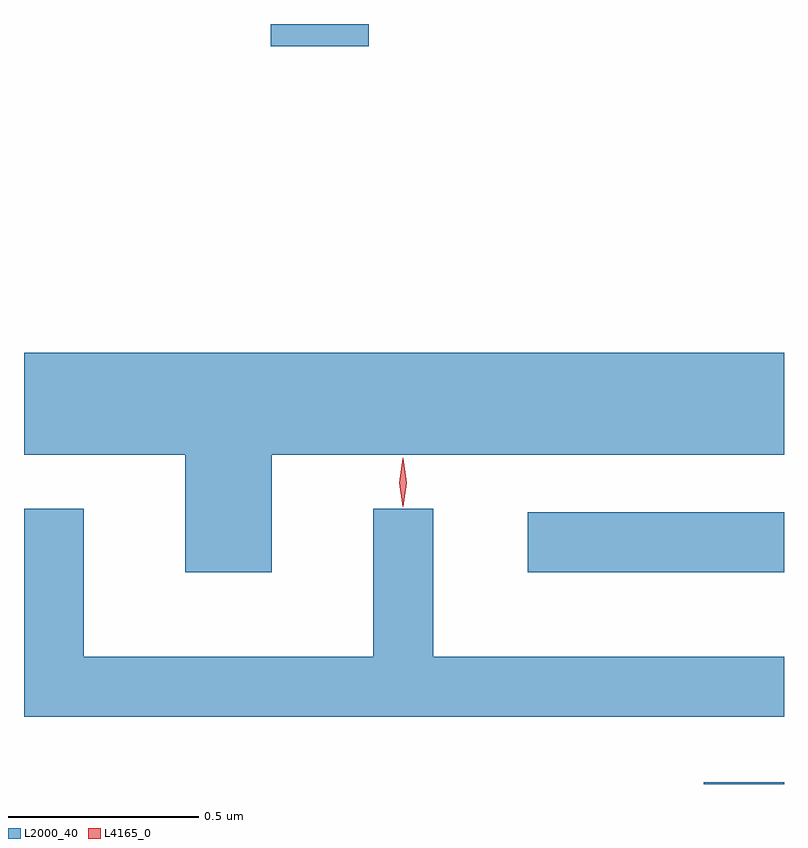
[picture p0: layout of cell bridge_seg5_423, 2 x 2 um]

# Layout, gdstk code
import gdstk
lib = gdstk.Library(unit=1e-6, precision=1e-09)
def R(c, l, rs):  # rectangles x0, y0, x1, y1
    for r in rs: c.add(gdstk.rectangle(r[:2], r[2:], *l))
def P(c, l, *ps):  # polygons
    for p in ps: c.add(gdstk.Polygon(p, *l))
L2000_40 = (2000, 40)
L4165_0 = (4165, 0)

bridge_seg5_423 = lib.new_cell('bridge_seg5_423')
R(bridge_seg5_423, L2000_40, [(550.516,1487.009,550.727,1487.014), (550.053,1487.566,550.727,1487.724), (549.376,1488.951,549.634,1489.009)])
P(bridge_seg5_423, L2000_40, [(549.379,1487.876),(550.727,1487.876),(550.727,1488.144),(548.727,1488.144),(548.727,1487.876),(549.151,1487.876),(549.151,1487.566),(549.379,1487.566)],
  [(550.727,1487.344),(549.804,1487.344),(549.804,1487.733),(549.646,1487.733),(549.646,1487.344),(548.884,1487.344),(548.884,1487.733),(548.727,1487.733),(548.727,1487.186),(550.727,1487.186)])
P(bridge_seg5_423, L4165_0, [(549.724,1487.738),(549.715,1487.802),(549.724,1487.866),(549.724,1487.867),(549.725,1487.866),(549.734,1487.802),(549.725,1487.738),(549.725,1487.738)])

lib.write_gds('bridge_seg5_423.gds')
